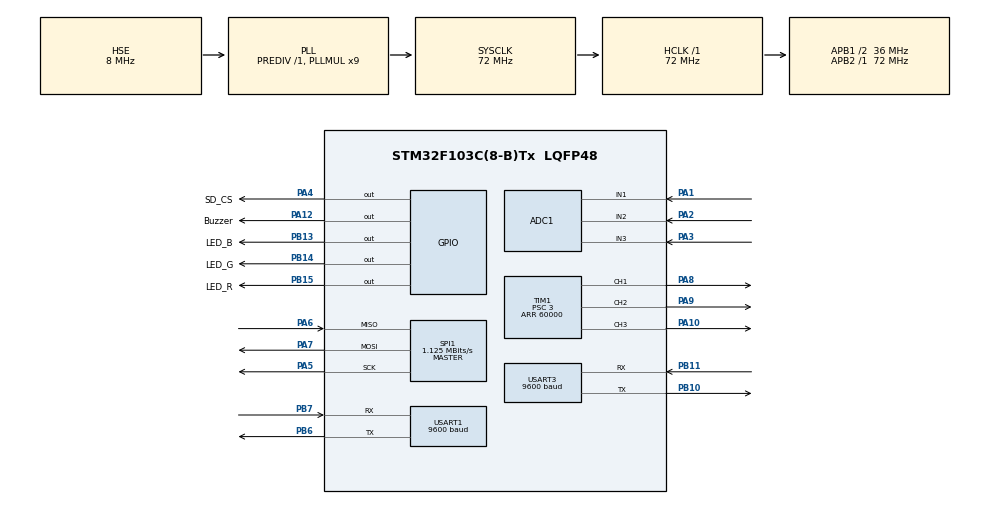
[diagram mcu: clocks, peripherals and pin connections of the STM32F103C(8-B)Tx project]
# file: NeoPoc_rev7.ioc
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ADC1.Channel-4\#ChannelRegularConversion=ADC_CHANNEL_1
ADC1.Channel-5\#ChannelRegularConversion=ADC_CHANNEL_2
ADC1.Channel-6\#ChannelRegularConversion=ADC_CHANNEL_3
ADC1.Channel-7\#ChannelRegularConversion=ADC_CHANNEL_TEMPSENSOR
ADC1.NbrOfConversion=4
ADC1.NbrOfConversionFlag=1
ADC1.Rank-4\#ChannelRegularConversion=1
ADC1.Rank-5\#ChannelRegularConversion=2
ADC1.Rank-6\#ChannelRegularConversion=3
ADC1.Rank-7\#ChannelRegularConversion=4
ADC1.SamplingTime-4\#ChannelRegularConversion=ADC_SAMPLETIME_71CYCLES_5
ADC1.SamplingTime-5\#ChannelRegularConversion=ADC_SAMPLETIME_71CYCLES_5
ADC1.SamplingTime-6\#ChannelRegularConversion=ADC_SAMPLETIME_71CYCLES_5
ADC1.SamplingTime-7\#ChannelRegularConversion=ADC_SAMPLETIME_71CYCLES_5
ADC1.master=1
Dma.ADC1.0.Direction=DMA_PERIPH_TO_MEMORY
Dma.ADC1.0.Instance=DMA1_Channel1
Dma.ADC1.0.MemDataAlignment=DMA_MDATAALIGN_WORD
Dma.ADC1.0.MemInc=DMA_MINC_ENABLE
Dma.ADC1.0.Mode=DMA_CIRCULAR
Dma.ADC1.0.PeriphDataAlignment=DMA_PDATAALIGN_WORD
Dma.ADC1.0.PeriphInc=DMA_PINC_DISABLE
Dma.ADC1.0.Priority=DMA_PRIORITY_LOW
Dma.Request0=ADC1
FATFS._MAX_SS=4096
FATFS._USE_LFN=1
Mcu.Family=STM32F1
Mcu.Name=STM32F103C(8-B)Tx
Mcu.Package=LQFP48
NVIC.ADC1_2_IRQn=true\:0\:0\:false\:false\:true\:true\:true
NVIC.DMA1_Channel1_IRQn=true\:0\:0\:false\:false\:true\:false\:true
NVIC.PriorityGroup=NVIC_PRIORITYGROUP_4
NVIC.TIM2_IRQn=true\:0\:0\:false\:false\:true\:true\:true
NVIC.TIM3_IRQn=true\:0\:0\:false\:false\:true\:true\:true
NVIC.USART1_IRQn=true\:0\:0\:false\:false\:true\:true\:true
NVIC.USART3_IRQn=true\:0\:0\:false\:false\:true\:true\:true
PA1.Signal=ADCx_IN1
PA10.Signal=S_TIM1_CH3
PA12.GPIO_Label=Buzzer
PA12.Signal=GPIO_Output
PA13.Mode=Serial_Wire
PA13.Signal=SYS_JTMS-SWDIO
PA14.Mode=Serial_Wire
PA14.Signal=SYS_JTCK-SWCLK
PA2.Signal=ADCx_IN2
PA3.Signal=ADCx_IN3
PA4.GPIO_Label=SD_CS
PA4.Signal=GPIO_Output
PA5.Mode=Full_Duplex_Master
PA5.Signal=SPI1_SCK
PA6.Mode=Full_Duplex_Master
PA6.Signal=SPI1_MISO
PA7.Mode=Full_Duplex_Master
PA7.Signal=SPI1_MOSI
PA8.Signal=S_TIM1_CH1
PA9.Signal=S_TIM1_CH2
PB10.Mode=Asynchronous
PB10.Signal=USART3_TX
PB11.Mode=Asynchronous
PB11.Signal=USART3_RX
PB13.GPIO_Label=LED_B
PB13.Signal=GPIO_Output
PB14.GPIO_Label=LED_G
PB14.Signal=GPIO_Output
PB15.GPIO_Label=LED_R
PB15.Signal=GPIO_Output
PB6.Mode=Asynchronous
PB6.Signal=USART1_TX
PB7.Mode=Asynchronous
PB7.Signal=USART1_RX
PD0-OSC_IN.Mode=HSE-External-Oscillator
PD0-OSC_IN.Signal=RCC_OSC_IN
PD1-OSC_OUT.Mode=HSE-External-Oscillator
PD1-OSC_OUT.Signal=RCC_OSC_OUT
ProjectManager.HeapSize=0x200
ProjectManager.StackSize=0x400
ProjectManager.TargetToolchain=MDK-ARM V5
RCC.ADCPresc=RCC_ADCPCLK2_DIV6
RCC.AHBFreq_Value=72000000
RCC.APB1CLKDivider=RCC_HCLK_DIV2
RCC.APB1Freq_Value=36000000
RCC.APB1TimFreq_Value=72000000
RCC.APB2Freq_Value=72000000
RCC.APB2TimFreq_Value=72000000
RCC.HCLKFreq_Value=72000000
RCC.PLLMUL=RCC_PLL_MUL9
RCC.PLLSourceVirtual=RCC_PLLSOURCE_HSE
RCC.SYSCLKFreq_VALUE=72000000
RCC.SYSCLKSource=RCC_SYSCLKSOURCE_PLLCLK
RCC.USBFreq_Value=72000000
SH.ADCx_IN1.0=ADC1_IN1,IN1
SH.ADCx_IN2.0=ADC1_IN2,IN2
SH.ADCx_IN3.0=ADC1_IN3,IN3
SH.S_TIM1_CH1.0=TIM1_CH1,PWM Generation1 CH1
SH.S_TIM1_CH2.0=TIM1_CH2,PWM Generation2 CH2
SH.S_TIM1_CH3.0=TIM1_CH3,PWM Generation3 CH3
SPI1.BaudRatePrescaler=SPI_BAUDRATEPRESCALER_64
SPI1.CalculateBaudRate=1.125 MBits/s
SPI1.Direction=SPI_DIRECTION_2LINES
SPI1.Mode=SPI_MODE_MASTER
SPI1.VirtualType=VM_MASTER
TIM1.Channel-PWM\ Generation1\ CH1=TIM_CHANNEL_1
TIM1.Channel-PWM\ Generation2\ CH2=TIM_CHANNEL_2
TIM1.Channel-PWM\ Generation3\ CH3=TIM_CHANNEL_3
TIM1.Period=60000
TIM1.Prescaler=3
TIM3.Period=1
TIM3.Prescaler=18000
USART1.BaudRate=9600
USART1.VirtualMode=VM_ASYNC
USART3.BaudRate=9600
USART3.VirtualMode=VM_ASYNC
VP_ADC1_TempSens_Input.Mode=IN-TempSens
VP_FATFS_VS_Generic.Mode=User_defined
VP_TIM1_VS_ClockSourceINT.Mode=Internal
VP_TIM2_VS_ClockSourceINT.Mode=Internal
VP_TIM3_VS_ClockSourceINT.Mode=Internal
board=Spi Haberlesme

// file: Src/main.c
#include "main.h"
#include "fatfs.h"

ADC_HandleTypeDef hadc1;
DMA_HandleTypeDef hdma_adc1;
SPI_HandleTypeDef hspi1;
TIM_HandleTypeDef htim1;
TIM_HandleTypeDef htim2;
TIM_HandleTypeDef htim3;
UART_HandleTypeDef huart1;
UART_HandleTypeDef huart3;

/* USER CODE BEGIN PV */
/* Private variables ---------------------------------------------------------*/

int result1_array[300];
int result2_array[300];
int led_array_counter = 0;
extern int value1;
extern volatile int result1, result2;
int result1_old=0, result2_old=0;
int read_new1=0, read_new2=0;

int value2=0;
int value3=140;
int value4=180;

int first_value_of_result1=0;
int first_value_of_result2=0;
int first_value_flag=0;

FATFS fs;
FATFS *pfs;
FIL fil;
FRESULT fres;
DWORD fre_clust;
uint32_t total, free;
char sd_card_header[9]={'E', 'O', ' ', 'T', 'E', 'S', 'T', '\n'};

uint32_t ADC_BUF[4];								// ADC1 in 4 channeli icin buffer olusturuldu (ch1(PhotoDiode), ch2(LimitSwitch), ch3(Vbat), ch16(Temp)).
float temp_adc,vsense,temp_val;			// Dahili sicaklik sensoru okumasi icin kullanilan degiskenler.
char temp_val_str[20];							// Dahili sicaklik stringe cevrildikten sonra yazilicak buffer.
int Vbat=0;
int old_Vbat=0;
int icon_vbat=0;

extern uint8_t Rx_Byte[1];			//Gelen veri 					Daha önce stm32f1xx_it.c dosyasinda tanimladim oradan cek.
extern uint8_t Rx_Data[40];			//Gelen veri bufferi	Daha önce stm32f1xx_it.c dosyasinda tanimladim oradan cek.
extern uint8_t Rx_DataCnt;			//Gelen veri counteri	Daha önce stm32f1xx_it.c dosyasinda tanimladim oradan cek.
extern uint8_t Rx_Flag;					//Alma islemi flagi		Daha önce stm32f1xx_it.c dosyasinda tanimladim oradan cek.

char Tx_Buffer_Temperature[11]={0x84, 0x48, 0x0A, 0x82, 0x03, 0x00, 0x30, 0x30, 0x30, 0x30, 0x30};		//0300 VP'ye 00000 yaz
char Tx_Buffer_Change_Page[7]={0x84, 0x48, 0x04, 0x80, 0x03, 0x00, 0x01};  														// Go to page 1
char Tx_Buffer_Send_Data[8]={0x84, 0x48, 0x05, 0x82, 0x12, 0x01, 0x00, 0xA0};													// Send data to a variable point.
//char Tx_Buffer_Update_Date[13]={0x84, 0x48, 0x0A, 0x80, 0x1F, 0x5A, 0x19, 0x12, 0x19, 0x04, 0x09, 0x52, 0x01};
char Tx_Buffer_Get_Date[6]={0x84, 0x48, 0x03, 0x81, 0x20, 0x07};
char data_low, data_high;

/* USER CODE END PV */

void SystemClock_Config(void);
static void MX_GPIO_Init(void);
static void MX_DMA_Init(void);
static void MX_SPI1_Init(void);
static void MX_ADC1_Init(void);
static void MX_TIM1_Init(void);
static void MX_TIM3_Init(void);
static void MX_USART1_UART_Init(void);
static void MX_USART3_UART_Init(void);
static void MX_TIM2_Init(void);
/* USER CODE BEGIN PFP */

void sdcard_write(char data[])							// Write string to end of sd card file.
{
	if(f_mount(&fs, "", 0) != FR_OK)
    Error_Handler();

  /* eo.txt adinda dosya aç */
  if(f_open(&fil, "eo.txt", FA_OPEN_ALWAYS | FA_READ | FA_WRITE) != FR_OK)
		Error_Handler();

	/* Sona git */
	if(f_lseek(&fil, f_size(&fil))!= FR_OK)
		Error_Handler();

  /* Bos alani kontrol et */
  if(f_getfree("", &fre_clust, &pfs) != FR_OK)
    Error_Handler();

  total = (uint32_t)((pfs->n_fatent - 2) * pfs->csize * 0.5);
  free = (uint32_t)(fre_clust * pfs->csize * 0.5);

  /* Eger 1 kb dan az ise hata ver */
  if(free < 1)
    Error_Handler();

  /* veri stringini yaz */
  f_printf(&fil, "%s", data);

  /* Dosyayi kapat */
  if(f_close(&fil) != FR_OK)
    Error_Handler();

  /* Unmount SDCARD */
  if(f_mount(NULL, "", 1) != FR_OK)
    Error_Handler();

}

void sdcard_write_int(int data)							// Write string to end of sd card file.
{
	if(f_mount(&fs, "", 0) != FR_OK)
    Error_Handler();

  /* eo.txt adinda dosya aç */
  if(f_open(&fil, "eo.txt", FA_OPEN_ALWAYS | FA_READ | FA_WRITE) != FR_OK)
		Error_Handler();

	/* Sona git */
	if(f_lseek(&fil, f_size(&fil))!= FR_OK)
		Error_Handler();

  /* Bos alani kontrol et */
  if(f_getfree("", &fre_clust, &pfs) != FR_OK)
    Error_Handler();

  total = (uint32_t)((pfs->n_fatent - 2) * pfs->csize * 0.5);
  free = (uint32_t)(fre_clust * pfs->csize * 0.5);

  /* Eger 1 kb dan az ise hata ver */
  if(free < 1)
    Error_Handler();

  /* veri stringini yaz */
  f_printf(&fil, "%d", data);

  /* Dosyayi kapat */
  if(f_close(&fil) != FR_OK)
    Error_Handler();

  /* Unmount SDCARD */
  if(f_mount(NULL, "", 1) != FR_OK)
    Error_Handler();

}

void temp_val_calculate()										// Calculate internal temperature and send to screen.
{
	temp_adc = ADC_BUF[3];
	vsense=(temp_adc/4096)*3.3;
	temp_val=((1.43-vsense)*1000/4.3)+25; // Calculate internal temperature.
	sprintf(temp_val_str, "%.2f", temp_val);  // Float to string.
	for(int n=0; n<5; n++)
	{
		Tx_Buffer_Temperature[n+6]=temp_val_str[n];
	}
	HAL_UART_Transmit(&huart1, (uint8_t *)Tx_Buffer_Temperature, 11 , 100);
}

void change_page(char page)									// Change page on the screen.
{
	Tx_Buffer_Change_Page[6]=page;
	HAL_UART_Transmit(&huart1, (uint8_t *)Tx_Buffer_Change_Page, 7, 100);
}
void send_data_to_variable_point(char vp_high, char vp_low, int data_to_send)
{

	Tx_Buffer_Send_Data[4]=vp_high;
	Tx_Buffer_Send_Data[5]=vp_low;

	data_low = data_to_send;
	data_high = data_to_send>>8;

	Tx_Buffer_Send_Data[6] = data_high;			// write (0 t0 7) bits of data_to_send to.
	Tx_Buffer_Send_Data[7] = data_low;			// write (8 to 15) bits of data_to_send to data_high.

	HAL_UART_Transmit(&huart1, (uint8_t *)Tx_Buffer_Send_Data, 8, 10);

}
int main(void)
{
  HAL_Init();
  SystemClock_Config();
  /* Initialize all configured peripherals */
  MX_GPIO_Init();
  MX_DMA_Init();
  MX_SPI1_Init();
  MX_FATFS_Init();
  MX_ADC1_Init();
  MX_TIM1_Init();
	MX_TIM2_Init();
  MX_TIM3_Init();
  MX_USART1_UART_Init();
  MX_USART3_UART_Init();

  /* USER CODE BEGIN 2 */

	HAL_ADC_Start_DMA(&hadc1, (uint32_t *)ADC_BUF, 4);  // ADC1'i DMA modda baslat. (ADC_BUF arraye 4 byte)
	HAL_ADC_Start_IT(&hadc1);													  // ADC1 için interrupt baslat.
	while(HAL_ADCEx_Calibration_Start(&hadc1) != HAL_OK);	// Kalibrasyon yap
	/**************************************************************************************/

	//HAL_TIM_PWM_Start(&htim1, TIM_CHANNEL_1); Cahnnel 1 Arizali
	HAL_TIM_PWM_Start(&htim1, TIM_CHANNEL_2);		// Blue Led.
	HAL_TIM_PWM_Start(&htim1, TIM_CHANNEL_3);		// White Led.

	/**************************************************************************************/

	sdcard_write(sd_card_header);
  /* USER CODE END 2 */

  /* Infinite loop */
  /* USER CODE BEGIN WHILE */
	for(int j=0; j<9; j++)		// Animasyonu oynat.
	{
		HAL_Delay(120);
		change_page(j);
	}
	HAL_TIM_Base_Start_IT(&htim3);		// Buzzer On.
	HAL_Delay(100);
	change_page(10);									// Kartus takiniz sayfasina git.
	HAL_TIM_Base_Stop_IT(&htim3);			// Buzzer Off.
	HAL_TIM_Base_Stop_IT(&htim2);			// Ölçüm interruptini durdur.

  while (1)
  {
		HAL_ADC_Start_IT(&hadc1);				// Update ADC
		temp_val_calculate();						// Calculate internal temperature and send to screen.

		Vbat=(ADC_BUF[2]-1431)/4.24;					// 1431 -> %0 batarya 1855 -> %100 batarya.
		Vbat=(Vbat+old_Vbat)/2;								// Son iki degerin aritmatik ortalamasini al. 1 birimlik oynamayi azaltmak icin.
		if(Vbat>100){Vbat=100;}
		if(Vbat<1){Vbat=0;}

		icon_vbat=Vbat/20;

		send_data_to_variable_point(0x03, 0x10, Vbat);
		send_data_to_variable_point(0x03, 0x10, Vbat);

		switch(icon_vbat)
		{
			case 0:
			{
				send_data_to_variable_point(0x00, 0x02, 0);
				break;
			}
			case 1:
			{
				send_data_to_variable_point(0x00, 0x02, 1);
				break;
			}
			case 2:
			{
				send_data_to_variable_point(0x00, 0x02, 2);
				break;
			}
			case 3:
			{
				send_data_to_variable_point(0x00, 0x02, 3);
				break;
			}
			case 4:
			{
				send_data_to_variable_point(0x00, 0x02, 4);
				break;
			}
			case 5:
			{
				send_data_to_variable_point(0x00, 0x02, 4);
				break;
			}
		}
		old_Vbat=Vbat;

		if(ADC_BUF[1]>500)							// Eger butona basildiysa.
		{
			__HAL_UART_ENABLE_IT(&huart1, UART_IT_RXNE);							// UART1 Rx Interrupt enabled.
			HAL_UART_Transmit(&huart1, (uint8_t*)Tx_Buffer_Get_Date, 6, 100); 	// Get Date
			HAL_Delay(30);																						// Wait until read Rx
			__HAL_UART_DISABLE_IT(&huart1, UART_IT_RXNE);							// Disable UART1 Rx interrupt.

			change_page(11);										// Kan damlat ekranina git.
			HAL_TIM_Base_Start_IT(&htim2);			// Ölçüm interruptini baslat.
			HAL_Delay(2000);										// 1 saniye sonra

			sdcard_write("---------- Measurements Results ----------\n");			// Ölçüme baslandigini gösteren basligi sd card'a yaz.
			value1=0;
			while(1)
			{
				if(value2+1==value1)
				{
					if(value1>50)
					{
						read_new1 = (result1_old*(value1-51)+result1)/(value1-50);
						result1_old=read_new1;
						read_new2 = (result2_old*(value1-51)+result2)/(value1-50);
						result2_old=read_new2;
					}

					value2=value1;
					if(value1==300)
					{
						HAL_TIM_Base_Stop_IT(&htim2);
						if(first_value_flag==0)
						{
							first_value_of_result1=read_new1;
							first_value_of_result2=read_new2;
							first_value_flag=1;
							send_data_to_variable_point(0x12, 0x01, first_value_of_result1);
							send_data_to_variable_point(0x12, 0x02, first_value_of_result2);
						}
						HAL_ADC_Start_IT(&hadc1);
						if(ADC_BUF[1]<=500)
						{
							HAL_TIM_Base_Stop_IT(&htim2);
							TIM1->CCR2=0;
							TIM2->CCR3=0;
							send_data_to_variable_point(0x11, 0x01, 0);
							send_data_to_variable_point(0x11, 0x02, 0);
							send_data_to_variable_point(0x12, 0x03, 0);
							send_data_to_variable_point(0x12, 0x04, 0);
							send_data_to_variable_point(0x12, 0x05, 140);
							result1_old=0;
							result2_old=0;
							value1=0;
							value2=0;
							value3=140;
							first_value_flag=0;
							change_page(10);
							break;
						}

						send_data_to_variable_point(0x11, 0x01, read_new1);
						send_data_to_variable_point(0x11, 0x02, read_new2);

						if(f_mount(&fs, "", 0) != FR_OK)
							Error_Handler();

						if(f_open(&fil, "eo.txt", FA_OPEN_ALWAYS | FA_READ | FA_WRITE) != FR_OK)
							Error_Handler();

						/* Sona git */
						if(f_lseek(&fil, f_size(&fil))!= FR_OK)
							Error_Handler();

						/* Bos alani kontrol et */
						if(f_getfree("", &fre_clust, &pfs) != FR_OK)
							Error_Handler();

						free = (uint32_t)(fre_clust * pfs->csize * 0.5);

						/* Eger 1 kb dan az ise hata ver */
						if(free < 1)
							Error_Handler();

						/* veri stringini yaz */
						if(Rx_Flag==1)
						{
							f_printf(&fil, "%02x", Rx_Data[8]);		// Day
							f_printf(&fil, "%s", "-");
							f_printf(&fil, "%02x", Rx_Data[7]);		// Month
							f_printf(&fil, "%s", "-");
							f_printf(&fil, "20%02x", Rx_Data[6]);		// Year
							f_printf(&fil, "%s", " // ");
							f_printf(&fil, "%02x", Rx_Data[10]);		// Hour
							f_printf(&fil, "%s", ":");
							f_printf(&fil, "%02x", Rx_Data[11]);		// Minute
							f_printf(&fil, "%s", ":");
							f_printf(&fil, "%02x", Rx_Data[12]);		// Second
							f_printf(&fil, "%s", "  Vbat:");
							f_printf(&fil, "%d", ADC_BUF[2]);
							f_printf(&fil, "%s", "\n\n");
							Rx_Flag=0;
						}
						f_printf(&fil, "%d", read_new1);
						f_printf(&fil, "%s", ";");
						f_printf(&fil, "%d", read_new2);
						f_printf(&fil, "%s", ";");
						f_printf(&fil, "%d", 0);
						f_printf(&fil, "%s", "\n");

						/* Dosyayi kapat */
						if(f_close(&fil) != FR_OK)
							Error_Handler();

						/* Unmount SDCARD */
						if(f_mount(NULL, "", 1) != FR_OK)
							Error_Handler();

						if((read_new2>(first_value_of_result2*1.1))||(read_new2<(first_value_of_result2*0.9)))	// +-%10 luk degisim olduysa.
						{
							read_new1=0;
							read_new2=0;
							result1_old=0;
							result2_old=0;
							value1=0;
							value2=0;
							change_page(12);
							HAL_TIM_Base_Start_IT(&htim2);
							while(1)
							{
								if(value2+1==value1)
								{
									if(value1>50)
									{
										read_new1 = (result1_old*(value1-51)+result1)/(value1-50);
										result1_old=read_new1;
										read_new2 = (result2_old*(value1-51)+result2)/(value1-50);
										result2_old=read_new2;
									}

									value2=value1;
									if(value1==300)
									{
										HAL_TIM_Base_Stop_IT(&htim2);
										HAL_ADC_Start_IT(&hadc1);
										if(ADC_BUF[1]<=500)
										{
											HAL_TIM_Base_Stop_IT(&htim2);
											TIM1->CCR2=0;
											TIM2->CCR3=0;
											value1=0;
											value2=0;
											result1_old=0;
											result2_old=0;
											first_value_flag=0;
											change_page(10);
											break;
										}

										send_data_to_variable_point(0x12, 0x03, read_new1);
										send_data_to_variable_point(0x12, 0x04, read_new2);
										send_data_to_variable_point(0x12, 0x05, value3);

										if(f_mount(&fs, "", 0) != FR_OK)
											Error_Handler();

										if(f_open(&fil, "eo.txt", FA_OPEN_ALWAYS | FA_READ | FA_WRITE) != FR_OK)
											Error_Handler();

										/* Sona git */
										if(f_lseek(&fil, f_size(&fil))!= FR_OK)
											Error_Handler();

										/* Bos alani kontrol et */
										if(f_getfree("", &fre_clust, &pfs) != FR_OK)
											Error_Handler();

										total = (uint32_t)((pfs->n_fatent - 2) * pfs->csize * 0.5);
										free = (uint32_t)(fre_clust * pfs->csize * 0.5);

										/* Eger 1 kb dan az ise hata ver */
										if(free < 1)
											Error_Handler();

										/* veri stringini yaz */
										f_printf(&fil, "%d", read_new1);
										f_printf(&fil, "%s", ";");
										f_printf(&fil, "%d", read_new2);
										f_printf(&fil, "%s", ";");
										f_printf(&fil, "%d", value3);
										f_printf(&fil, "%s", "\n");

										/* Dosyayi kapat */
										if(f_close(&fil) != FR_OK)
											Error_Handler();

										/* Unmount SDCARD */
										if(f_mount(NULL, "", 1) != FR_OK)
											Error_Handler();

										value3--;

										if(value3==0)
										{
											change_page(13);
											HAL_TIM_Base_Start_IT(&htim3);
											HAL_Delay(500);
											HAL_TIM_Base_Stop_IT(&htim3);
											//test
											HAL_TIM_Base_Start_IT(&htim2);
											value1=0;
											value2=0;
											while(1)
											{
												if(value2+1==value1)
												{
													if(value1>50)
													{
														read_new1 = (result1_old*(value1-51)+result1)/(value1-50);
														result1_old=read_new1;
														read_new2 = (result2_old*(value1-51)+result2)/(value1-50);
														result2_old=read_new2;
													}

													value2=value1;
													if(value1==300)
													{
														HAL_TIM_Base_Stop_IT(&htim2);

														if(f_mount(&fs, "", 0) != FR_OK)
															Error_Handler();

														if(f_open(&fil, "eo.txt", FA_OPEN_ALWAYS | FA_READ | FA_WRITE) != FR_OK)
															Error_Handler();

														/* Sona git */
														if(f_lseek(&fil, f_size(&fil))!= FR_OK)
															Error_Handler();

														/* Bos alani kontrol et */
														if(f_getfree("", &fre_clust, &pfs) != FR_OK)
															Error_Handler();

														total = (uint32_t)((pfs->n_fatent - 2) * pfs->csize * 0.5);
														free = (uint32_t)(fre_clust * pfs->csize * 0.5);

														/* Eger 1 kb dan az ise hata ver */
														if(free < 1)
															Error_Handler();

														/* veri stringini yaz */
														f_printf(&fil, "%d", read_new1);
														f_printf(&fil, "%s", ";");
														f_printf(&fil, "%d", read_new2);
														f_printf(&fil, "%s", ";");
														f_printf(&fil, "%d", 0);
														f_printf(&fil, "%s", "\n");

														/* Dosyayi kapat */
														if(f_close(&fil) != FR_OK)
															Error_Handler();

														/* Unmount SDCARD */
														if(f_mount(NULL, "", 1) != FR_OK)
															Error_Handler();

														value4--;
														if(value4==0)
														{
															while(1)
															{
																HAL_ADC_Start_IT(&hadc1);
																if(ADC_BUF[1]<=500)
																{
																	result1_old=0;
																	result2_old=0;
																	value3=140;
																	value4=180;
																	first_value_flag=0;
																	change_page(10);
																	break;
																}
															}
															break;
														}
														HAL_ADC_Start_IT(&hadc1);
														if(ADC_BUF[1]<=500)
														{
															result1_old=0;
															result2_old=0;
															value3=140;
															value4=180;
															change_page(10);
															break;
														}
														read_new1=0;
														read_new2=0;
														result1_old=0;
														result2_old=0;
														value1=0;
														value2=0;
														HAL_TIM_Base_Start_IT(&htim2);
													}
												}
											}
										}

										read_new1=0;
										read_new2=0;
										result1_old=0;
										result2_old=0;
										value1=0;
										value2=0;
										HAL_TIM_Base_Start_IT(&htim2);
									}
								}
							}
						}

						read_new1=0;
						read_new2=0;
						result1_old=0;
						result2_old=0;
						value1=0;
						value2=0;
						HAL_TIM_Base_Start_IT(&htim2);
					}
				}
			}
		}
  }
}

void SystemClock_Config(void)
{
  RCC_OscInitTypeDef RCC_OscInitStruct = {0};
  RCC_ClkInitTypeDef RCC_ClkInitStruct = {0};
  RCC_PeriphCLKInitTypeDef PeriphClkInit = {0};

  /** Initializes the CPU, AHB and APB busses clocks
  */
  RCC_OscInitStruct.OscillatorType = RCC_OSCILLATORTYPE_HSE;
  RCC_OscInitStruct.HSEState = RCC_HSE_ON;
  RCC_OscInitStruct.HSEPredivValue = RCC_HSE_PREDIV_DIV1;
  RCC_OscInitStruct.HSIState = RCC_HSI_ON;
  RCC_OscInitStruct.PLL.PLLState = RCC_PLL_ON;
  RCC_OscInitStruct.PLL.PLLSource = RCC_PLLSOURCE_HSE;
  RCC_OscInitStruct.PLL.PLLMUL = RCC_PLL_MUL9;
  if (HAL_RCC_OscConfig(&RCC_OscInitStruct) != HAL_OK)
  {
    Error_Handler();
  }
  /** Initializes the CPU, AHB and APB busses clocks
  */
  RCC_ClkInitStruct.ClockType = RCC_CLOCKTYPE_HCLK|RCC_CLOCKTYPE_SYSCLK
                              |RCC_CLOCKTYPE_PCLK1|RCC_CLOCKTYPE_PCLK2;
  RCC_ClkInitStruct.SYSCLKSource = RCC_SYSCLKSOURCE_PLLCLK;
  RCC_ClkInitStruct.AHBCLKDivider = RCC_SYSCLK_DIV1;
  RCC_ClkInitStruct.APB1CLKDivider = RCC_HCLK_DIV2;
  RCC_ClkInitStruct.APB2CLKDivider = RCC_HCLK_DIV1;

  if (HAL_RCC_ClockConfig(&RCC_ClkInitStruct, FLASH_LATENCY_2) != HAL_OK)
  {
    Error_Handler();
  }
  PeriphClkInit.PeriphClockSelection = RCC_PERIPHCLK_ADC;
  PeriphClkInit.AdcClockSelection = RCC_ADCPCLK2_DIV6;
  if (HAL_RCCEx_PeriphCLKConfig(&PeriphClkInit) != HAL_OK)
  {
    Error_Handler();
  }
}

static void MX_ADC1_Init(void)
{

  ADC_ChannelConfTypeDef sConfig = {0};

  /** Common config
  */
  hadc1.Instance = ADC1;
  hadc1.Init.ScanConvMode = ADC_SCAN_ENABLE;
  hadc1.Init.ContinuousConvMode = DISABLE;
  hadc1.Init.DiscontinuousConvMode = DISABLE;
  hadc1.Init.ExternalTrigConv = ADC_SOFTWARE_START;
  hadc1.Init.DataAlign = ADC_DATAALIGN_RIGHT;
  hadc1.Init.NbrOfConversion = 4;
  if (HAL_ADC_Init(&hadc1) != HAL_OK)
  {
    Error_Handler();
  }
  /** Configure Regular Channel
  */
  sConfig.Channel = ADC_CHANNEL_1;
  sConfig.Rank = ADC_REGULAR_RANK_1;
  sConfig.SamplingTime = ADC_SAMPLETIME_71CYCLES_5;
  if (HAL_ADC_ConfigChannel(&hadc1, &sConfig) != HAL_OK)
  {
    Error_Handler();
  }
  /** Configure Regular Channel
  */
  sConfig.Channel = ADC_CHANNEL_2;
  sConfig.Rank = ADC_REGULAR_RANK_2;
  if (HAL_ADC_ConfigChannel(&hadc1, &sConfig) != HAL_OK)
  {
    Error_Handler();
  }
  /** Configure Regular Channel
  */
  sConfig.Channel = ADC_CHANNEL_3;
  sConfig.Rank = ADC_REGULAR_RANK_3;
  if (HAL_ADC_ConfigChannel(&hadc1, &sConfig) != HAL_OK)
  {
    Error_Handler();
  }
  /** Configure Regular Channel
  */
  sConfig.Channel = ADC_CHANNEL_TEMPSENSOR;
  sConfig.Rank = ADC_REGULAR_RANK_4;
  if (HAL_ADC_ConfigChannel(&hadc1, &sConfig) != HAL_OK)
  {
    Error_Handler();
  }

}

static void MX_SPI1_Init(void)
{

  /* SPI1 parameter configuration*/
  hspi1.Instance = SPI1;
  hspi1.Init.Mode = SPI_MODE_MASTER;
  hspi1.Init.Direction = SPI_DIRECTION_2LINES;
  hspi1.Init.DataSize = SPI_DATASIZE_8BIT;
  hspi1.Init.CLKPolarity = SPI_POLARITY_LOW;
  hspi1.Init.CLKPhase = SPI_PHASE_1EDGE;
  hspi1.Init.NSS = SPI_NSS_SOFT;
  hspi1.Init.BaudRatePrescaler = SPI_BAUDRATEPRESCALER_64;
  hspi1.Init.FirstBit = SPI_FIRSTBIT_MSB;
  hspi1.Init.TIMode = SPI_TIMODE_DISABLE;
  hspi1.Init.CRCCalculation = SPI_CRCCALCULATION_DISABLE;
  hspi1.Init.CRCPolynomial = 10;
  if (HAL_SPI_Init(&hspi1) != HAL_OK)
  {
    Error_Handler();
  }

}

static void MX_TIM1_Init(void)
{

  TIM_ClockConfigTypeDef sClockSourceConfig = {0};
  TIM_MasterConfigTypeDef sMasterConfig = {0};
  TIM_OC_InitTypeDef sConfigOC = {0};
  TIM_BreakDeadTimeConfigTypeDef sBreakDeadTimeConfig = {0};

  htim1.Instance = TIM1;
  htim1.Init.Prescaler = 1;
  htim1.Init.CounterMode = TIM_COUNTERMODE_UP;
  htim1.Init.Period = 1000;  // 100
  htim1.Init.ClockDivision = TIM_CLOCKDIVISION_DIV1;
  htim1.Init.RepetitionCounter = 0;
  htim1.Init.AutoReloadPreload = TIM_AUTORELOAD_PRELOAD_DISABLE;
  if (HAL_TIM_Base_Init(&htim1) != HAL_OK)
  {
    Error_Handler();
  }
  sClockSourceConfig.ClockSource = TIM_CLOCKSOURCE_INTERNAL;
  if (HAL_TIM_ConfigClockSource(&htim1, &sClockSourceConfig) != HAL_OK)
  {
    Error_Handler();
  }
  if (HAL_TIM_PWM_Init(&htim1) != HAL_OK)
  {
    Error_Handler();
  }
  sMasterConfig.MasterOutputTrigger = TIM_TRGO_RESET;
  sMasterConfig.MasterSlaveMode = TIM_MASTERSLAVEMODE_DISABLE;
  if (HAL_TIMEx_MasterConfigSynchronization(&htim1, &sMasterConfig) != HAL_OK)
  {
    Error_Handler();
  }
  sConfigOC.OCMode = TIM_OCMODE_PWM1;
  sConfigOC.Pulse = 0;
  sConfigOC.OCPolarity = TIM_OCPOLARITY_HIGH;
  sConfigOC.OCNPolarity = TIM_OCNPOLARITY_HIGH;
  sConfigOC.OCFastMode = TIM_OCFAST_DISABLE;
  sConfigOC.OCIdleState = TIM_OCIDLESTATE_RESET;
  sConfigOC.OCNIdleState = TIM_OCNIDLESTATE_RESET;
  if (HAL_TIM_PWM_ConfigChannel(&htim1, &sConfigOC, TIM_CHANNEL_1) != HAL_OK)
  {
    Error_Handler();
  }
  if (HAL_TIM_PWM_ConfigChannel(&htim1, &sConfigOC, TIM_CHANNEL_2) != HAL_OK)
  {
    Error_Handler();
  }
  if (HAL_TIM_PWM_ConfigChannel(&htim1, &sConfigOC, TIM_CHANNEL_3) != HAL_OK)
  {
    Error_Handler();
  }
  sBreakDeadTimeConfig.OffStateRunMode = TIM_OSSR_DISABLE;
  sBreakDeadTimeConfig.OffStateIDLEMode = TIM_OSSI_DISABLE;
  sBreakDeadTimeConfig.LockLevel = TIM_LOCKLEVEL_OFF;
  sBreakDeadTimeConfig.DeadTime = 0;
  sBreakDeadTimeConfig.BreakState = TIM_BREAK_DISABLE;
  sBreakDeadTimeConfig.BreakPolarity = TIM_BREAKPOLARITY_HIGH;
  sBreakDeadTimeConfig.AutomaticOutput = TIM_AUTOMATICOUTPUT_DISABLE;
  if (HAL_TIMEx_ConfigBreakDeadTime(&htim1, &sBreakDeadTimeConfig) != HAL_OK)
  {
    Error_Handler();
  }
  HAL_TIM_MspPostInit(&htim1);

}

static void MX_TIM2_Init(void)
{

  TIM_ClockConfigTypeDef sClockSourceConfig = {0};
  TIM_MasterConfigTypeDef sMasterConfig = {0};

  htim2.Instance = TIM2;
  htim2.Init.Prescaler = 232;  // 232 800us icin
  htim2.Init.CounterMode = TIM_COUNTERMODE_UP;
  htim2.Init.Period = 120;		// 120
  htim2.Init.ClockDivision = TIM_CLOCKDIVISION_DIV1;
  htim2.Init.AutoReloadPreload = TIM_AUTORELOAD_PRELOAD_DISABLE;
  if (HAL_TIM_Base_Init(&htim2) != HAL_OK)
  {
    Error_Handler();
  }
  sClockSourceConfig.ClockSource = TIM_CLOCKSOURCE_INTERNAL;
  if (HAL_TIM_ConfigClockSource(&htim2, &sClockSourceConfig) != HAL_OK)
  {
    Error_Handler();
  }
  sMasterConfig.MasterOutputTrigger = TIM_TRGO_RESET;
  sMasterConfig.MasterSlaveMode = TIM_MASTERSLAVEMODE_DISABLE;
  if (HAL_TIMEx_MasterConfigSynchronization(&htim2, &sMasterConfig) != HAL_OK)
  {
    Error_Handler();
  }

}

static void MX_TIM3_Init(void)
{

  TIM_ClockConfigTypeDef sClockSourceConfig = {0};
  TIM_MasterConfigTypeDef sMasterConfig = {0};

  htim3.Instance = TIM3;
  htim3.Init.Prescaler = 18000;
  htim3.Init.CounterMode = TIM_COUNTERMODE_UP;
  htim3.Init.Period = 1;
  htim3.Init.ClockDivision = TIM_CLOCKDIVISION_DIV1;
  htim3.Init.AutoReloadPreload = TIM_AUTORELOAD_PRELOAD_DISABLE;
  if (HAL_TIM_Base_Init(&htim3) != HAL_OK)
  {
    Error_Handler();
  }
  sClockSourceConfig.ClockSource = TIM_CLOCKSOURCE_INTERNAL;
  if (HAL_TIM_ConfigClockSource(&htim3, &sClockSourceConfig) != HAL_OK)
  {
    Error_Handler();
  }
  sMasterConfig.MasterOutputTrigger = TIM_TRGO_RESET;
  sMasterConfig.MasterSlaveMode = TIM_MASTERSLAVEMODE_DISABLE;
  if (HAL_TIMEx_MasterConfigSynchronization(&htim3, &sMasterConfig) != HAL_OK)
  {
    Error_Handler();
  }

}

static void MX_USART1_UART_Init(void)
{

  huart1.Instance = USART1;
  huart1.Init.BaudRate = 9600;
  huart1.Init.WordLength = UART_WORDLENGTH_8B;
  huart1.Init.StopBits = UART_STOPBITS_1;
  huart1.Init.Parity = UART_PARITY_NONE;
  huart1.Init.Mode = UART_MODE_TX_RX;
  huart1.Init.HwFlowCtl = UART_HWCONTROL_NONE;
  huart1.Init.OverSampling = UART_OVERSAMPLING_16;
  if (HAL_UART_Init(&huart1) != HAL_OK)
  {
    Error_Handler();
  }

}

static void MX_USART3_UART_Init(void)
{

  huart3.Instance = USART3;
  huart3.Init.BaudRate = 9600;
  huart3.Init.WordLength = UART_WORDLENGTH_8B;
  huart3.Init.StopBits = UART_STOPBITS_1;
  huart3.Init.Parity = UART_PARITY_NONE;
  huart3.Init.Mode = UART_MODE_TX_RX;
  huart3.Init.HwFlowCtl = UART_HWCONTROL_NONE;
  huart3.Init.OverSampling = UART_OVERSAMPLING_16;
  if (HAL_UART_Init(&huart3) != HAL_OK)
  {
    Error_Handler();
  }

}

static void MX_DMA_Init(void)
{
  /* DMA controller clock enable */
  __HAL_RCC_DMA1_CLK_ENABLE();

  /* DMA interrupt init */
  /* DMA1_Channel1_IRQn interrupt configuration */
  HAL_NVIC_SetPriority(DMA1_Channel1_IRQn, 0, 0);
  HAL_NVIC_EnableIRQ(DMA1_Channel1_IRQn);

}

static void MX_GPIO_Init(void)
{
  GPIO_InitTypeDef GPIO_InitStruct = {0};

  /* GPIO Ports Clock Enable */
  __HAL_RCC_GPIOD_CLK_ENABLE();
  __HAL_RCC_GPIOA_CLK_ENABLE();
  __HAL_RCC_GPIOB_CLK_ENABLE();

  /*Configure GPIO pin Output Level */
  HAL_GPIO_WritePin(GPIOA, SD_CS_Pin|Buzzer_Pin, GPIO_PIN_RESET);

  /*Configure GPIO pin Output Level */
  HAL_GPIO_WritePin(GPIOB, LED_B_Pin|LED_G_Pin|LED_R_Pin, GPIO_PIN_RESET);

  /*Configure GPIO pins : SD_CS_Pin Buzzer_Pin */
  GPIO_InitStruct.Pin = SD_CS_Pin|Buzzer_Pin;
  GPIO_InitStruct.Mode = GPIO_MODE_OUTPUT_PP;
  GPIO_InitStruct.Pull = GPIO_NOPULL;
  GPIO_InitStruct.Speed = GPIO_SPEED_FREQ_LOW;
  HAL_GPIO_Init(GPIOA, &GPIO_InitStruct);

  /*Configure GPIO pins : LED_B_Pin LED_G_Pin LED_R_Pin */
  GPIO_InitStruct.Pin = LED_B_Pin|LED_G_Pin|LED_R_Pin;
  GPIO_InitStruct.Mode = GPIO_MODE_OUTPUT_PP;
  GPIO_InitStruct.Pull = GPIO_NOPULL;
  GPIO_InitStruct.Speed = GPIO_SPEED_FREQ_LOW;
  HAL_GPIO_Init(GPIOB, &GPIO_InitStruct);

}

void Error_Handler(void)
{
  /* USER CODE BEGIN Error_Handler_Debug */
  /* User can add his own implementation to report the HAL error return state */
  while(1)
  {
		HAL_GPIO_TogglePin(LED_R_GPIO_Port, LED_R_Pin);
		HAL_Delay(100);
  }
  /* USER CODE END Error_Handler_Debug */
}

/************************ (C) COPYRIGHT STMicroelectronics *****END OF FILE****/
